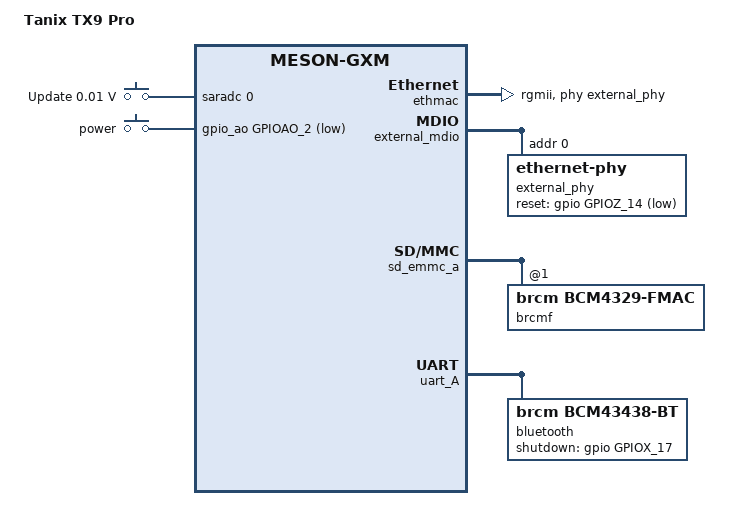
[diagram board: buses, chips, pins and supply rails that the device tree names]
// SPDX-License-Identifier: (GPL-2.0+ OR MIT)
/*
 * Copyright (c) 2016 Endless Computers, Inc.
 * Author: Carlo Caione <carlo@endlessm.com>
 */

/dts-v1/;

#include "meson-gxm.dtsi"
#include "meson-gx-p23x-q20x.dtsi"
#include <dt-bindings/input/input.h>

/ {
	compatible = "oranth,tx9-pro", "amlogic,s912", "amlogic,meson-gxm";
	model = "Tanix TX9 Pro";

	adc-keys {
		compatible = "adc-keys";
		io-channels = <&saradc 0>;
		io-channel-names = "buttons";
		keyup-threshold-microvolt = <1710000>;

		button-function {
			label = "Update";
			linux,code = <KEY_VENDOR>;
			press-threshold-microvolt = <10000>;
		};
	};

	gpio-keys-polled {
		compatible = "gpio-keys-polled";
		poll-interval = <100>;

		button {
			label = "power";
			linux,code = <KEY_POWER>;
			gpios = <&gpio_ao GPIOAO_2 GPIO_ACTIVE_LOW>;
		};
	};
};

&ethmac {
	pinctrl-0 = <&eth_pins>;
	pinctrl-names = "default";
	phy-handle = <&external_phy>;
	amlogic,tx-delay-ns = <2>;
	phy-mode = "rgmii";
};

&external_mdio {
	external_phy: ethernet-phy@0 {
		/* Realtek RTL8211F (0x001cc916) */
		reg = <0>;
		max-speed = <1000>;

		reset-assert-us = <10000>;
		reset-deassert-us = <80000>;
		reset-gpios = <&gpio GPIOZ_14 GPIO_ACTIVE_LOW>;

		interrupt-parent = <&gpio_intc>;
		/* MAC_INTR on GPIOZ_15 */
		interrupts = <25 IRQ_TYPE_LEVEL_LOW>;
	};
};

&ir {
	linux,rc-map-name = "rc-tanix-tx3mini";
};

&sd_emmc_a {
	brcmf: wifi@1 {
		reg = <1>;
		compatible = "brcm,bcm4329-fmac";
	};
};

&uart_A {
	status = "okay";
	pinctrl-0 = <&uart_a_pins>, <&uart_a_cts_rts_pins>;
	pinctrl-names = "default";
	uart-has-rtscts;

	bluetooth {
		compatible = "brcm,bcm43438-bt";
		shutdown-gpios = <&gpio GPIOX_17 GPIO_ACTIVE_HIGH>;
		max-speed = <2000000>;
		clocks = <&wifi32k>;
		clock-names = "lpo";
	};
};
